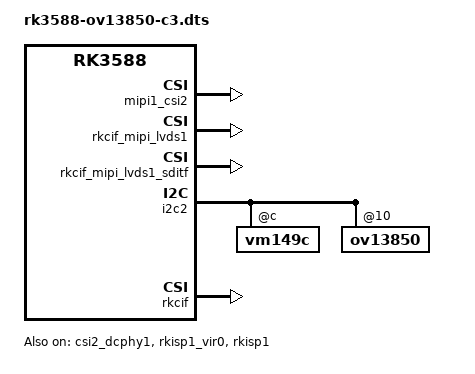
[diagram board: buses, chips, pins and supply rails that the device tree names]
/dts-v1/;
/plugin/;

/ {
	compatible = "rockchip,rk3588s-orangepi-5", "rockchip,rk3588";

	fragment@0 {
		target = <&csi2_dcphy1>;

		__overlay__ {
			status = "okay";
		};
	};

	fragment@1 {
		target = <&mipi1_csi2>;

		__overlay__ {
			status = "okay";
		};
	};

	fragment@2 {
		target = <&rkcif_mipi_lvds1>;

		__overlay__ {
			status = "okay";
		};
	};

	fragment@3 {
		target = <&rkcif_mipi_lvds1_sditf>;

		__overlay__ {
			status = "okay";
		};
	};

	fragment@4 {
		target = <&rkisp1_vir0>;

		__overlay__ {
			status = "okay";
		};
	};

	fragment@5 {
		target = <&i2c2>;

		__overlay__ {
			status = "okay";

			vm149c@c {
				status = "okay";
			};

			ov13850@10 {
				status = "okay";
			};
		};
	};

	fragment@6 {
		target = <&rkcif>;

		__overlay__ {
			status = "okay";
		};
	};

	fragment@7 {
		target = <&rkcif_mmu>;

		__overlay__ {
			status = "okay";
		};
	};

	fragment@8 {
		target = <&rkisp1>;

		__overlay__ {
			status = "okay";
		};
	};

	fragment@9 {
		target = <&isp1_mmu>;

		__overlay__ {
			status = "okay";
		};
	};
};
